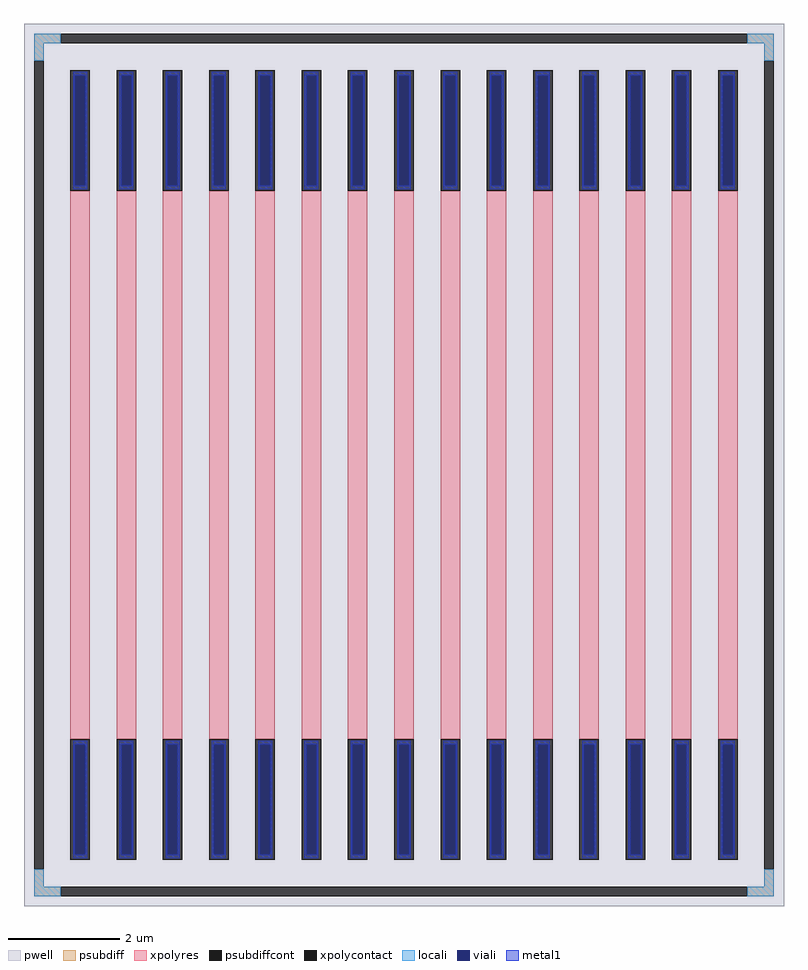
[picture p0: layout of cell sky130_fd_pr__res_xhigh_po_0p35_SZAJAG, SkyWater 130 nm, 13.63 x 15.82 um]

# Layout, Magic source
magic
tech sky130A
magscale 1 2
<< pwell >>
rect -1363 -1582 1363 1582
<< psubdiff >>
rect -1327 1512 -1231 1546
rect 1231 1512 1327 1546
rect -1327 1450 -1293 1512
rect 1293 1450 1327 1512
rect -1327 -1512 -1293 -1450
rect 1293 -1512 1327 -1450
rect -1327 -1546 -1231 -1512
rect 1231 -1546 1327 -1512
<< psubdiffcont >>
rect -1231 1512 1231 1546
rect -1327 -1450 -1293 1450
rect 1293 -1450 1327 1450
rect -1231 -1546 1231 -1512
<< xpolycontact >>
rect -1197 984 -1127 1416
rect -1197 -1416 -1127 -984
rect -1031 984 -961 1416
rect -1031 -1416 -961 -984
rect -865 984 -795 1416
rect -865 -1416 -795 -984
rect -699 984 -629 1416
rect -699 -1416 -629 -984
rect -533 984 -463 1416
rect -533 -1416 -463 -984
rect -367 984 -297 1416
rect -367 -1416 -297 -984
rect -201 984 -131 1416
rect -201 -1416 -131 -984
rect -35 984 35 1416
rect -35 -1416 35 -984
rect 131 984 201 1416
rect 131 -1416 201 -984
rect 297 984 367 1416
rect 297 -1416 367 -984
rect 463 984 533 1416
rect 463 -1416 533 -984
rect 629 984 699 1416
rect 629 -1416 699 -984
rect 795 984 865 1416
rect 795 -1416 865 -984
rect 961 984 1031 1416
rect 961 -1416 1031 -984
rect 1127 984 1197 1416
rect 1127 -1416 1197 -984
<< xpolyres >>
rect -1197 -984 -1127 984
rect -1031 -984 -961 984
rect -865 -984 -795 984
rect -699 -984 -629 984
rect -533 -984 -463 984
rect -367 -984 -297 984
rect -201 -984 -131 984
rect -35 -984 35 984
rect 131 -984 201 984
rect 297 -984 367 984
rect 463 -984 533 984
rect 629 -984 699 984
rect 795 -984 865 984
rect 961 -984 1031 984
rect 1127 -984 1197 984
<< locali >>
rect -1327 1512 -1231 1546
rect 1231 1512 1327 1546
rect -1327 1450 -1293 1512
rect 1293 1450 1327 1512
rect -1327 -1512 -1293 -1450
rect 1293 -1512 1327 -1450
rect -1327 -1546 -1231 -1512
rect 1231 -1546 1327 -1512
<< viali >>
rect -1181 1001 -1143 1398
rect -1015 1001 -977 1398
rect -849 1001 -811 1398
rect -683 1001 -645 1398
rect -517 1001 -479 1398
rect -351 1001 -313 1398
rect -185 1001 -147 1398
rect -19 1001 19 1398
rect 147 1001 185 1398
rect 313 1001 351 1398
rect 479 1001 517 1398
rect 645 1001 683 1398
rect 811 1001 849 1398
rect 977 1001 1015 1398
rect 1143 1001 1181 1398
rect -1181 -1398 -1143 -1001
rect -1015 -1398 -977 -1001
rect -849 -1398 -811 -1001
rect -683 -1398 -645 -1001
rect -517 -1398 -479 -1001
rect -351 -1398 -313 -1001
rect -185 -1398 -147 -1001
rect -19 -1398 19 -1001
rect 147 -1398 185 -1001
rect 313 -1398 351 -1001
rect 479 -1398 517 -1001
rect 645 -1398 683 -1001
rect 811 -1398 849 -1001
rect 977 -1398 1015 -1001
rect 1143 -1398 1181 -1001
<< metal1 >>
rect -1187 1398 -1137 1410
rect -1187 1001 -1181 1398
rect -1143 1001 -1137 1398
rect -1187 989 -1137 1001
rect -1021 1398 -971 1410
rect -1021 1001 -1015 1398
rect -977 1001 -971 1398
rect -1021 989 -971 1001
rect -855 1398 -805 1410
rect -855 1001 -849 1398
rect -811 1001 -805 1398
rect -855 989 -805 1001
rect -689 1398 -639 1410
rect -689 1001 -683 1398
rect -645 1001 -639 1398
rect -689 989 -639 1001
rect -523 1398 -473 1410
rect -523 1001 -517 1398
rect -479 1001 -473 1398
rect -523 989 -473 1001
rect -357 1398 -307 1410
rect -357 1001 -351 1398
rect -313 1001 -307 1398
rect -357 989 -307 1001
rect -191 1398 -141 1410
rect -191 1001 -185 1398
rect -147 1001 -141 1398
rect -191 989 -141 1001
rect -25 1398 25 1410
rect -25 1001 -19 1398
rect 19 1001 25 1398
rect -25 989 25 1001
rect 141 1398 191 1410
rect 141 1001 147 1398
rect 185 1001 191 1398
rect 141 989 191 1001
rect 307 1398 357 1410
rect 307 1001 313 1398
rect 351 1001 357 1398
rect 307 989 357 1001
rect 473 1398 523 1410
rect 473 1001 479 1398
rect 517 1001 523 1398
rect 473 989 523 1001
rect 639 1398 689 1410
rect 639 1001 645 1398
rect 683 1001 689 1398
rect 639 989 689 1001
rect 805 1398 855 1410
rect 805 1001 811 1398
rect 849 1001 855 1398
rect 805 989 855 1001
rect 971 1398 1021 1410
rect 971 1001 977 1398
rect 1015 1001 1021 1398
rect 971 989 1021 1001
rect 1137 1398 1187 1410
rect 1137 1001 1143 1398
rect 1181 1001 1187 1398
rect 1137 989 1187 1001
rect -1187 -1001 -1137 -989
rect -1187 -1398 -1181 -1001
rect -1143 -1398 -1137 -1001
rect -1187 -1410 -1137 -1398
rect -1021 -1001 -971 -989
rect -1021 -1398 -1015 -1001
rect -977 -1398 -971 -1001
rect -1021 -1410 -971 -1398
rect -855 -1001 -805 -989
rect -855 -1398 -849 -1001
rect -811 -1398 -805 -1001
rect -855 -1410 -805 -1398
rect -689 -1001 -639 -989
rect -689 -1398 -683 -1001
rect -645 -1398 -639 -1001
rect -689 -1410 -639 -1398
rect -523 -1001 -473 -989
rect -523 -1398 -517 -1001
rect -479 -1398 -473 -1001
rect -523 -1410 -473 -1398
rect -357 -1001 -307 -989
rect -357 -1398 -351 -1001
rect -313 -1398 -307 -1001
rect -357 -1410 -307 -1398
rect -191 -1001 -141 -989
rect -191 -1398 -185 -1001
rect -147 -1398 -141 -1001
rect -191 -1410 -141 -1398
rect -25 -1001 25 -989
rect -25 -1398 -19 -1001
rect 19 -1398 25 -1001
rect -25 -1410 25 -1398
rect 141 -1001 191 -989
rect 141 -1398 147 -1001
rect 185 -1398 191 -1001
rect 141 -1410 191 -1398
rect 307 -1001 357 -989
rect 307 -1398 313 -1001
rect 351 -1398 357 -1001
rect 307 -1410 357 -1398
rect 473 -1001 523 -989
rect 473 -1398 479 -1001
rect 517 -1398 523 -1001
rect 473 -1410 523 -1398
rect 639 -1001 689 -989
rect 639 -1398 645 -1001
rect 683 -1398 689 -1001
rect 639 -1410 689 -1398
rect 805 -1001 855 -989
rect 805 -1398 811 -1001
rect 849 -1398 855 -1001
rect 805 -1410 855 -1398
rect 971 -1001 1021 -989
rect 971 -1398 977 -1001
rect 1015 -1398 1021 -1001
rect 971 -1410 1021 -1398
rect 1137 -1001 1187 -989
rect 1137 -1398 1143 -1001
rect 1181 -1398 1187 -1001
rect 1137 -1410 1187 -1398
<< properties >>
string FIXED_BBOX -1310 -1529 1310 1529
string gencell sky130_fd_pr__res_xhigh_po_0p35
string library sky130
string parameters w 0.350 l 10.0 m 1 nx 15 wmin 0.350 lmin 0.50 rho 2000 val 58.218k dummy 0 dw 0.0 term 188.2 sterm 0.0 caplen 0 wmax 0.350 guard 1 glc 1 grc 1 gtc 1 gbc 1 compatible {sky130_fd_pr__res_xhigh_po_0p35  sky130_fd_pr__res_xhigh_po_0p69 sky130_fd_pr__res_xhigh_po_1p41  sky130_fd_pr__res_xhigh_po_2p85 sky130_fd_pr__res_xhigh_po_5p73} snake 0 full_metal 1 n_guard 0 hv_guard 0 vias 1 viagb 0 viagt 0 viagl 0 viagr 0
<< end >>
